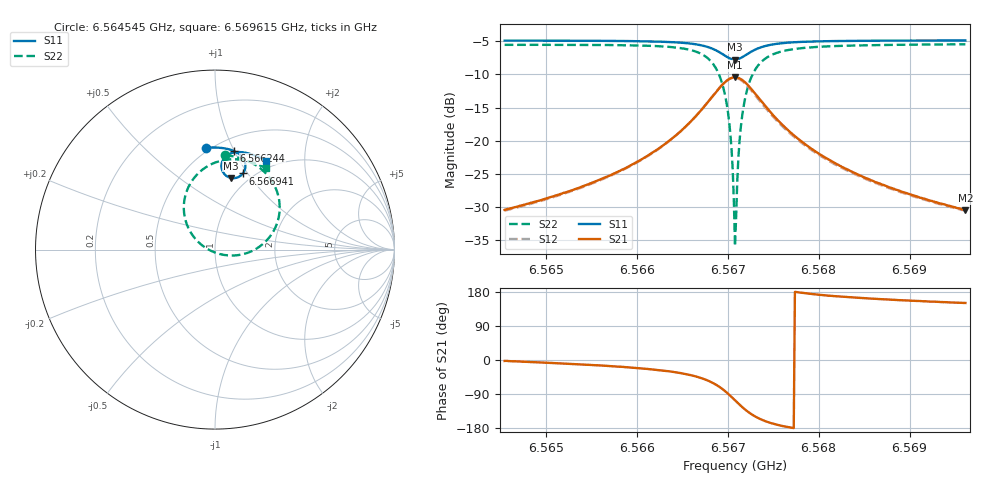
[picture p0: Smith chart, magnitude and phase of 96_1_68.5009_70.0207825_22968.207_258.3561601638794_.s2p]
#  HZ  S  RI  R  50.00
! Rohde & Schwarz Vector Network Analyzer
! Rohde-Schwarz,ZNB20-2Port,1311601062101988,3.16
! Created: UTC 3/20/2024, 4:52:51 PM
! freq[Hz]  re:S11  im:S11  re:S21  im:S21  re:S12  im:S12  re:S22  im:S22
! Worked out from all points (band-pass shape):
!   401 points, 6.564545 GHz to 6.569615 GHz, reference 50 ohm
!   highest |S21| = -10.43 dB at 6.56708 GHz (marker M1); lowest = -30.5 dB at 6.569615 GHz (marker M2)
!   |S21| within 3 dB of the highest: 6.566826 GHz to 6.567333 GHz (507.1 kHz wide, 0.00772 % of centre)
!   lowest |S11| = -7.8 dB at 6.56708 GHz (marker M3), VSWR 2.39, Z = 41.9 + j40.3 ohm
!   |S11| at or under -10 dB: nowhere
!   |S22| runs from -35.9 to -5.4 dB; largest |S21 - S12| = 0.015
!   S11 on the Smith chart (normalised r, x): 6.564545 GHz: 0.48, +0.80; 6.566244 GHz: 0.62, +1.00; 6.566941 GHz: 0.89, +0.95; 6.569615 GHz: 0.89, +1.31
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6.5645454e9  -0.0476 0.5673  0.03 -0.00134  0.0296 -0.0018  0.0551 0.5262
6.5653945e9  0.0232 0.5675  0.0441 -0.00915  0.0433 -0.00963  0.139 0.5101
6.5662436e9  0.1056 0.5496  0.0784 -0.0393  0.0772 -0.0402  0.2599 0.4465
6.5665224e9  0.1393 0.5288  0.1008 -0.074  0.0991 -0.0758  0.3198 0.3777
6.5667252e9  0.1638 0.4956  0.1149 -0.1327  0.1123 -0.1355  0.3588 0.2646
6.566852e9  0.1692 0.4577  0.1034 -0.199  0.0981 -0.2032  0.3423 0.1373
6.5669407e9  0.1552 0.4241  0.062 -0.257  0.0528 -0.2603  0.2655 0.0302
6.5669787e9  0.1417 0.4109  0.0306 -0.2783  0.0193 -0.28  0.2068 -0.00771
6.5670167e9  0.1236 0.4015  -0.00914 -0.2921  -0.0221 -0.2915  0.1336 -0.03
6.5670421e9  0.1096 0.3985  -0.0386 -0.2953  -0.0522 -0.2923  0.0799 -0.033
6.5670674e9  0.0949 0.3986  -0.0692 -0.2928  -0.0827 -0.2873  0.0255 -0.0245
6.5670801e9  0.0875 0.3998  -0.0842 -0.2891  -0.0976 -0.2824  -0.000848 -0.016
6.5670927e9  0.0804 0.4019  -0.0989 -0.284  -0.1116 -0.2762  -0.0263 -0.00506
6.5671054e9  0.0736 0.4047  -0.1127 -0.2775  -0.1249 -0.2685  -0.0501 0.00836
6.5671308e9  0.0612 0.4123  -0.1381 -0.2609  -0.1486 -0.25  -0.092 0.0415
6.5671688e9  0.0472 0.4278  -0.1677 -0.2296  -0.1749 -0.2169  -0.1385 0.101
6.5672195e9  0.0373 0.451  -0.1898 -0.1831  -0.1931 -0.1705  -0.1693 0.1852
6.5672828e9  0.037 0.4782  -0.1957 -0.1303  -0.1953 -0.1194  -0.1701 0.278
6.567511e9  0.0747 0.5299  -0.1499 -0.0293  -0.1466 -0.0247  -0.0673 0.4475
6.5679292e9  0.1376 0.5436  -0.0858 0.00887  -0.0836 0.0104  0.075 0.5021
6.5687783e9  0.2199 0.5251  -0.0416 0.0156  -0.0407 0.016  0.2068 0.4864
6.5696148e9  0.2831 0.4959  -0.026 0.0148  -0.0255 0.015  0.284 0.4526
